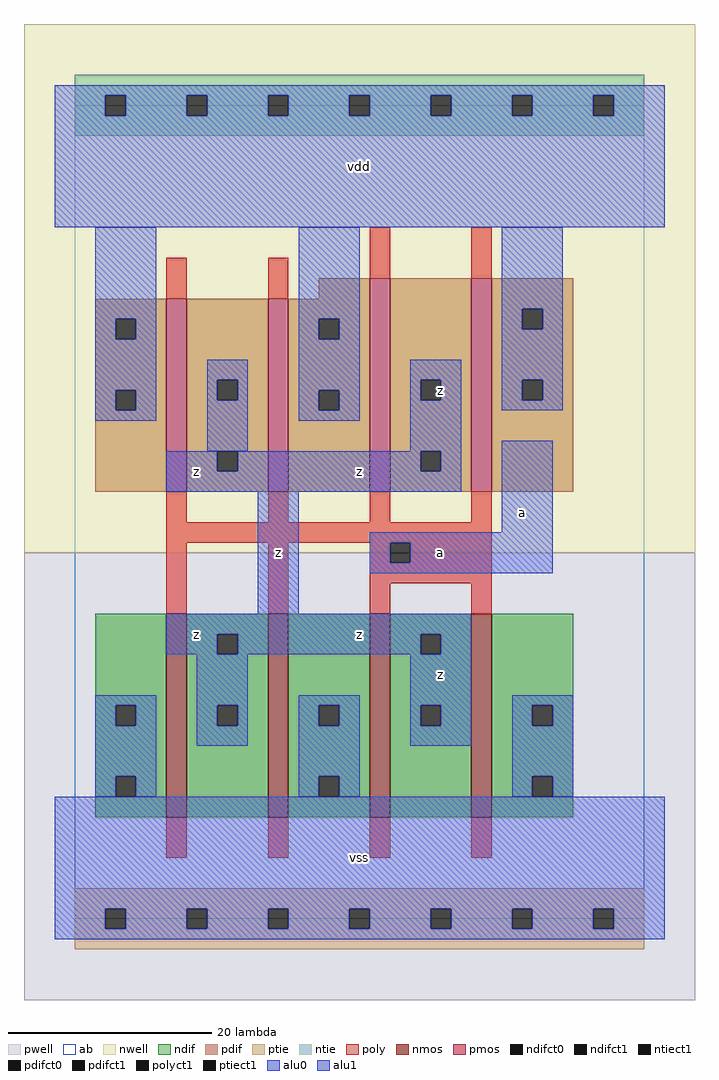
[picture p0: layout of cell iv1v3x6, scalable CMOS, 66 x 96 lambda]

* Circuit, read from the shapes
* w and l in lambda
.subckt iv1v3x6 a vdd vss z
M1 z a vss vss nfet w=20 l=2 m=4
M2 z a vdd vdd pfet w=19 l=2 m=2
M3 z a vdd vdd pfet w=21 l=2 m=2
.ends

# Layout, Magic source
magic
tech scmos
<< ab >>
rect 0 0 56 80
<< nwell >>
rect -5 36 61 88
<< pwell >>
rect -5 -8 61 36
<< poly >>
rect 9 61 11 65
rect 19 61 21 65
rect 29 63 31 68
rect 39 63 41 68
rect 9 39 11 42
rect 19 39 21 42
rect 29 39 31 42
rect 39 39 41 42
rect 9 37 41 39
rect 9 30 11 37
rect 19 30 21 37
rect 29 35 31 37
rect 33 35 41 37
rect 29 33 41 35
rect 29 30 31 33
rect 39 30 41 33
rect 9 6 11 10
rect 19 6 21 10
rect 29 6 31 10
rect 39 6 41 10
<< ndif >>
rect 2 21 9 30
rect 2 19 4 21
rect 6 19 9 21
rect 2 14 9 19
rect 2 12 4 14
rect 6 12 9 14
rect 2 10 9 12
rect 11 28 19 30
rect 11 26 14 28
rect 16 26 19 28
rect 11 21 19 26
rect 11 19 14 21
rect 16 19 19 21
rect 11 10 19 19
rect 21 21 29 30
rect 21 19 24 21
rect 26 19 29 21
rect 21 14 29 19
rect 21 12 24 14
rect 26 12 29 14
rect 21 10 29 12
rect 31 28 39 30
rect 31 26 34 28
rect 36 26 39 28
rect 31 21 39 26
rect 31 19 34 21
rect 36 19 39 21
rect 31 10 39 19
rect 41 21 49 30
rect 41 19 45 21
rect 47 19 49 21
rect 41 14 49 19
rect 41 12 45 14
rect 47 12 49 14
rect 41 10 49 12
<< pdif >>
rect 24 61 29 63
rect 2 59 9 61
rect 2 57 4 59
rect 6 57 9 59
rect 2 52 9 57
rect 2 50 4 52
rect 6 50 9 52
rect 2 42 9 50
rect 11 53 19 61
rect 11 51 14 53
rect 16 51 19 53
rect 11 46 19 51
rect 11 44 14 46
rect 16 44 19 46
rect 11 42 19 44
rect 21 59 29 61
rect 21 57 24 59
rect 26 57 29 59
rect 21 52 29 57
rect 21 50 24 52
rect 26 50 29 52
rect 21 42 29 50
rect 31 53 39 63
rect 31 51 34 53
rect 36 51 39 53
rect 31 46 39 51
rect 31 44 34 46
rect 36 44 39 46
rect 31 42 39 44
rect 41 60 49 63
rect 41 58 44 60
rect 46 58 49 60
rect 41 53 49 58
rect 41 51 44 53
rect 46 51 49 53
rect 41 42 49 51
<< alu1 >>
rect -2 81 58 82
rect -2 79 3 81
rect 5 79 11 81
rect 13 79 19 81
rect 21 79 27 81
rect 29 79 35 81
rect 37 79 43 81
rect 45 79 51 81
rect 53 79 58 81
rect -2 68 58 79
rect 33 53 38 55
rect 33 51 34 53
rect 36 51 38 53
rect 33 46 38 51
rect 9 44 14 46
rect 16 44 34 46
rect 36 44 38 46
rect 9 42 38 44
rect 18 30 22 42
rect 42 38 47 47
rect 29 37 47 38
rect 29 35 31 37
rect 33 35 47 37
rect 29 34 47 35
rect 9 28 39 30
rect 9 26 14 28
rect 16 26 34 28
rect 36 26 39 28
rect 12 21 17 26
rect 12 19 14 21
rect 16 19 17 21
rect 12 17 17 19
rect 33 21 39 26
rect 33 19 34 21
rect 36 19 39 21
rect 33 17 39 19
rect -2 1 58 12
rect -2 -1 3 1
rect 5 -1 11 1
rect 13 -1 19 1
rect 21 -1 27 1
rect 29 -1 35 1
rect 37 -1 43 1
rect 45 -1 51 1
rect 53 -1 58 1
rect -2 -2 58 -1
<< ptie >>
rect 0 1 56 3
rect 0 -1 3 1
rect 5 -1 11 1
rect 13 -1 19 1
rect 21 -1 27 1
rect 29 -1 35 1
rect 37 -1 43 1
rect 45 -1 51 1
rect 53 -1 56 1
rect 0 -3 56 -1
<< ntie >>
rect 0 81 56 83
rect 0 79 3 81
rect 5 79 11 81
rect 13 79 19 81
rect 21 79 27 81
rect 29 79 35 81
rect 37 79 43 81
rect 45 79 51 81
rect 53 79 56 81
rect 0 77 56 79
<< nmos >>
rect 9 10 11 30
rect 19 10 21 30
rect 29 10 31 30
rect 39 10 41 30
<< pmos >>
rect 9 42 11 61
rect 19 42 21 61
rect 29 42 31 63
rect 39 42 41 63
<< polyct1 >>
rect 31 35 33 37
<< ndifct0 >>
rect 4 19 6 21
rect 4 12 6 14
rect 24 19 26 21
rect 24 12 26 14
rect 45 19 47 21
rect 45 12 47 14
<< ndifct1 >>
rect 14 26 16 28
rect 14 19 16 21
rect 34 26 36 28
rect 34 19 36 21
<< ntiect1 >>
rect 3 79 5 81
rect 11 79 13 81
rect 19 79 21 81
rect 27 79 29 81
rect 35 79 37 81
rect 43 79 45 81
rect 51 79 53 81
<< ptiect1 >>
rect 3 -1 5 1
rect 11 -1 13 1
rect 19 -1 21 1
rect 27 -1 29 1
rect 35 -1 37 1
rect 43 -1 45 1
rect 51 -1 53 1
<< pdifct0 >>
rect 4 57 6 59
rect 4 50 6 52
rect 14 51 16 53
rect 24 57 26 59
rect 24 50 26 52
rect 44 58 46 60
rect 44 51 46 53
<< pdifct1 >>
rect 14 44 16 46
rect 34 51 36 53
rect 34 44 36 46
<< alu0 >>
rect 2 59 8 68
rect 2 57 4 59
rect 6 57 8 59
rect 2 52 8 57
rect 22 59 28 68
rect 22 57 24 59
rect 26 57 28 59
rect 2 50 4 52
rect 6 50 8 52
rect 2 49 8 50
rect 13 53 17 55
rect 13 51 14 53
rect 16 51 17 53
rect 13 46 17 51
rect 22 52 28 57
rect 42 60 48 68
rect 42 58 44 60
rect 46 58 48 60
rect 22 50 24 52
rect 26 50 28 52
rect 22 49 28 50
rect 42 53 48 58
rect 42 51 44 53
rect 46 51 48 53
rect 42 50 48 51
rect 2 21 8 22
rect 2 19 4 21
rect 6 19 8 21
rect 2 14 8 19
rect 22 21 28 22
rect 22 19 24 21
rect 26 19 28 21
rect 2 12 4 14
rect 6 12 8 14
rect 22 14 28 19
rect 43 21 49 22
rect 43 19 45 21
rect 47 19 49 21
rect 22 12 24 14
rect 26 12 28 14
rect 43 14 49 19
rect 43 12 45 14
rect 47 12 49 14
<< labels >>
rlabel alu1 12 28 12 28 6 z
rlabel alu1 20 36 20 36 6 z
rlabel alu1 12 44 12 44 6 z
rlabel alu1 28 6 28 6 6 vss
rlabel alu1 28 28 28 28 6 z
rlabel alu1 36 36 36 36 6 a
rlabel alu1 36 24 36 24 6 z
rlabel alu1 28 44 28 44 6 z
rlabel alu1 36 52 36 52 6 z
rlabel alu1 28 74 28 74 6 vdd
rlabel alu1 44 40 44 40 6 a
<< end >>
